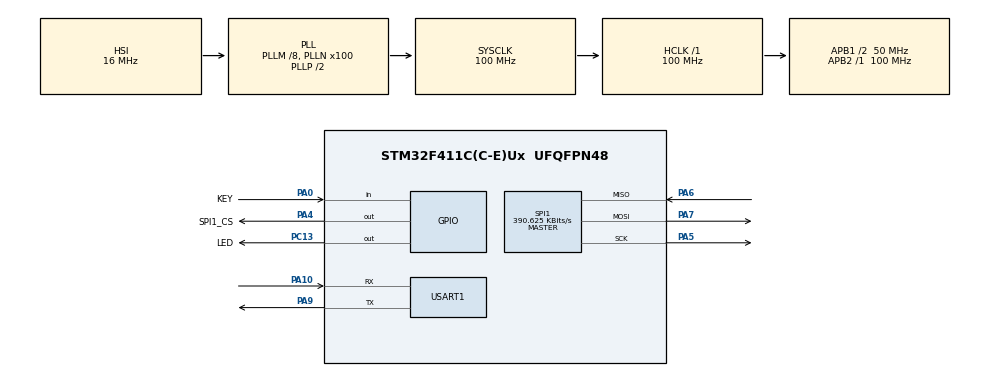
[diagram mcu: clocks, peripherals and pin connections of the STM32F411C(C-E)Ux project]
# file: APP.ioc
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Dma.Request0=USART1_RX
Dma.USART1_RX.0.Direction=DMA_PERIPH_TO_MEMORY
Dma.USART1_RX.0.FIFOMode=DMA_FIFOMODE_DISABLE
Dma.USART1_RX.0.Instance=DMA2_Stream2
Dma.USART1_RX.0.MemDataAlignment=DMA_MDATAALIGN_BYTE
Dma.USART1_RX.0.MemInc=DMA_MINC_ENABLE
Dma.USART1_RX.0.Mode=DMA_NORMAL
Dma.USART1_RX.0.PeriphDataAlignment=DMA_PDATAALIGN_BYTE
Dma.USART1_RX.0.PeriphInc=DMA_PINC_DISABLE
Dma.USART1_RX.0.Priority=DMA_PRIORITY_MEDIUM
FREERTOS.Tasks01=defaultTask,24,128,StartDefaultTask,Default,NULL,Dynamic,NULL,NULL
Mcu.Family=STM32F4
Mcu.Name=STM32F411C(C-E)Ux
Mcu.Package=UFQFPN48
NVIC.DMA2_Stream2_IRQn=true\:5\:0\:false\:false\:true\:true\:false\:true\:true
NVIC.PriorityGroup=NVIC_PRIORITYGROUP_4
NVIC.TIM1_UP_TIM10_IRQn=true\:15\:0\:false\:false\:true\:false\:false\:true\:true
NVIC.TimeBase=TIM1_UP_TIM10_IRQn
NVIC.TimeBaseIP=TIM1
NVIC.USART1_IRQn=true\:5\:0\:false\:false\:true\:true\:true\:true\:true
PA0-WKUP.GPIO_Label=KEY
PA0-WKUP.GPIO_PuPd=GPIO_PULLUP
PA0-WKUP.Signal=GPIO_Input
PA10.Mode=Asynchronous
PA10.Signal=USART1_RX
PA13.Mode=Serial_Wire
PA13.Signal=SYS_JTMS-SWDIO
PA14.Mode=Serial_Wire
PA14.Signal=SYS_JTCK-SWCLK
PA4.GPIO_Label=SPI1_CS
PA4.GPIO_Speed=GPIO_SPEED_FREQ_HIGH
PA4.PinState=GPIO_PIN_SET
PA4.Signal=GPIO_Output
PA5.Mode=Full_Duplex_Master
PA5.Signal=SPI1_SCK
PA6.Mode=Full_Duplex_Master
PA6.Signal=SPI1_MISO
PA7.Mode=Full_Duplex_Master
PA7.Signal=SPI1_MOSI
PA9.Mode=Asynchronous
PA9.Signal=USART1_TX
PC13-ANTI_TAMP.GPIO_Label=LED
PC13-ANTI_TAMP.Signal=GPIO_Output
PC14-OSC32_IN.Mode=LSE-External-Oscillator
PC14-OSC32_IN.Signal=RCC_OSC32_IN
PC15-OSC32_OUT.Mode=LSE-External-Oscillator
PC15-OSC32_OUT.Signal=RCC_OSC32_OUT
PH0\ -\ OSC_IN.Mode=HSE-External-Oscillator
PH0\ -\ OSC_IN.Signal=RCC_OSC_IN
PH1\ -\ OSC_OUT.Mode=HSE-External-Oscillator
PH1\ -\ OSC_OUT.Signal=RCC_OSC_OUT
ProjectManager.HeapSize=0x200
ProjectManager.StackSize=0x400
ProjectManager.TargetToolchain=MDK-ARM V5.32
RCC.48MHZClocksFreq_Value=50000000
RCC.AHBFreq_Value=100000000
RCC.APB1CLKDivider=RCC_HCLK_DIV2
RCC.APB1Freq_Value=50000000
RCC.APB1TimFreq_Value=100000000
RCC.APB2Freq_Value=100000000
RCC.APB2TimFreq_Value=100000000
RCC.CortexFreq_Value=100000000
RCC.HCLKFreq_Value=100000000
RCC.HSE_VALUE=25000000
RCC.HSI_VALUE=16000000
RCC.PLLM=8
RCC.PLLN=100
RCC.SYSCLKFreq_VALUE=100000000
RCC.SYSCLKSource=RCC_SYSCLKSOURCE_PLLCLK
RCC.VCOOutputFreq_Value=200000000
SPI1.BaudRatePrescaler=SPI_BAUDRATEPRESCALER_256
SPI1.CalculateBaudRate=390.625 KBits/s
SPI1.Direction=SPI_DIRECTION_2LINES
SPI1.Mode=SPI_MODE_MASTER
SPI1.VirtualType=VM_MASTER
USART1.VirtualMode=VM_ASYNC
VP_FREERTOS_VS_CMSIS_V2.Mode=CMSIS_V2
VP_SYS_VS_tim1.Mode=TIM1
board=custom

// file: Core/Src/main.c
/* USER CODE BEGIN Header */
/**
  ******************************************************************************
  * @file           : main.c
  * @brief          : Main program body
  ******************************************************************************
  * @attention
  *
  * Copyright (c) 2026 STMicroelectronics.
  * All rights reserved.
  *
  * This software is licensed under terms that can be found in the LICENSE file
  * in the root directory of this software component.
  * If no LICENSE file comes with this software, it is provided AS-IS.
  *
  ******************************************************************************
  */
/* USER CODE END Header */
#include "main.h"
#include "cmsis_os.h"
#include "dma.h"
#include "spi.h"
#include "usart.h"
#include "gpio.h"

/* USER CODE BEGIN Includes */
#include "AT24Cxx_Driver.h"
#include "w25qxx.h"
/* USER CODE END Includes */

void SystemClock_Config(void);
void MX_FREERTOS_Init(void);
/* USER CODE BEGIN PFP */
extern void soft_reset(void);
/* USER CODE END PFP */

/* USER CODE BEGIN 0 */
//uint8_t  g_recv_data[1]; //全局变量，接收数据缓冲区

/* USER CODE END 0 */

int main(void)
{

  /* USER CODE BEGIN 1 */
	// SCB->VTOR = 0x08000000 | 0x8000; //设置向量表偏移地�????�????0x08000000	//0x8019000
	__enable_irq();
  /* USER CODE END 1 */

  /* MCU Configuration--------------------------------------------------------*/

  /* Reset of all peripherals, Initializes the Flash interface and the Systick. */
  HAL_Init();

  /* Configure the system clock */
  SystemClock_Config();

  /* Initialize all configured peripherals */
  MX_GPIO_Init();
  MX_DMA_Init();
  MX_USART1_UART_Init();
  MX_SPI1_Init();
  /* USER CODE BEGIN 2 */
  HAL_Delay(100);
  ee_CheckOk();//检查eeprom是否正常工作
          //验证App自检标识
        uint8_t eeflag = 255;
        ee_ReadBytes(&eeflag,0x00,1);

        if(0x44 == eeflag)
        {
          eeflag = 0x00;
          ee_WriteBytes(&eeflag,0x00,1);
          //等待看门狗主动复位
          while(1);//等待6s看门狗复位
        }
        else if(0x00 != eeflag)
        {
          //主动执行复位
          soft_reset();
        }

  W25Qx_Init();
	// printf("Hello app!\r\n");
/*
  HAL_UART_Receive_IT(&huart1, g_recv_data, 1);*/
  /* USER CODE END 2 */

  /* Init scheduler */
  osKernelInitialize();

  /* Call init function for freertos objects (in cmsis_os2.c) */
  MX_FREERTOS_Init();

  /* Start scheduler */
  osKernelStart();

  /* We should never get here as control is now taken by the scheduler */

  /* Infinite loop */
  while (1)
  {

  }
}

void SystemClock_Config(void)
{
  RCC_OscInitTypeDef RCC_OscInitStruct = {0};
  RCC_ClkInitTypeDef RCC_ClkInitStruct = {0};

  /** Configure the main internal regulator output voltage
  */
  __HAL_RCC_PWR_CLK_ENABLE();
  __HAL_PWR_VOLTAGESCALING_CONFIG(PWR_REGULATOR_VOLTAGE_SCALE1);

  /** Initializes the RCC Oscillators according to the specified parameters
  * in the RCC_OscInitTypeDef structure.
  */
  RCC_OscInitStruct.OscillatorType = RCC_OSCILLATORTYPE_HSI;
  RCC_OscInitStruct.HSIState = RCC_HSI_ON;
  RCC_OscInitStruct.HSICalibrationValue = RCC_HSICALIBRATION_DEFAULT;
  RCC_OscInitStruct.PLL.PLLState = RCC_PLL_ON;
  RCC_OscInitStruct.PLL.PLLSource = RCC_PLLSOURCE_HSI;
  RCC_OscInitStruct.PLL.PLLM = 8;
  RCC_OscInitStruct.PLL.PLLN = 100;
  RCC_OscInitStruct.PLL.PLLP = RCC_PLLP_DIV2;
  RCC_OscInitStruct.PLL.PLLQ = 4;
  if (HAL_RCC_OscConfig(&RCC_OscInitStruct) != HAL_OK)
  {
    Error_Handler();
  }

  /** Initializes the CPU, AHB and APB buses clocks
  */
  RCC_ClkInitStruct.ClockType = RCC_CLOCKTYPE_HCLK|RCC_CLOCKTYPE_SYSCLK
                              |RCC_CLOCKTYPE_PCLK1|RCC_CLOCKTYPE_PCLK2;
  RCC_ClkInitStruct.SYSCLKSource = RCC_SYSCLKSOURCE_PLLCLK;
  RCC_ClkInitStruct.AHBCLKDivider = RCC_SYSCLK_DIV1;
  RCC_ClkInitStruct.APB1CLKDivider = RCC_HCLK_DIV2;
  RCC_ClkInitStruct.APB2CLKDivider = RCC_HCLK_DIV1;

  if (HAL_RCC_ClockConfig(&RCC_ClkInitStruct, FLASH_LATENCY_3) != HAL_OK)
  {
    Error_Handler();
  }
}

void HAL_TIM_PeriodElapsedCallback(TIM_HandleTypeDef *htim)
{
  if (htim->Instance == TIM1) {
    HAL_IncTick();
  }
}

void Error_Handler(void)
{
  __disable_irq();
  while (1)
  {
  }
}

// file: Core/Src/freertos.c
/* USER CODE BEGIN Header */
/**
  ******************************************************************************
  * File Name          : freertos.c
  * Description        : Code for freertos applications
  ******************************************************************************
  * @attention
  *
  * Copyright (c) 2026 STMicroelectronics.
  * All rights reserved.
  *
  * This software is licensed under terms that can be found in the LICENSE file
  * in the root directory of this software component.
  * If no LICENSE file comes with this software, it is provided AS-IS.
  *
  ******************************************************************************
  */
/* USER CODE END Header */

#include "FreeRTOS.h"
#include "task.h"
#include "main.h"
#include "cmsis_os.h"

/* USER CODE BEGIN Includes */

#include "queue.h" 	//队列
#include <string.h>  // memset
#include <stdint.h>//uint8_t uint32_t
#include <stdio.h>//null
#include <SWC_OTA.h>//OTA s multi Taasks

// #include "task.h"   // 任务通知函数  xTaskNotifyFromISR  MAX_DELAY
/* USER CODE END Includes */

/* Definitions for defaultTask */
osThreadId_t defaultTaskHandle;
const osThreadAttr_t defaultTask_attributes = {
  .name = "defaultTask",
  .stack_size = 128 * 4,
  .priority = (osPriority_t) osPriorityNormal,
};

/* USER CODE BEGIN FunctionPrototypes */
extern osThreadId_t OTATaskHandle;///协议接收Task
extern const osThreadAttr_t OTATask_attributes;

QueueHandle_t Q_YmodemReclength;

/* USER CODE END FunctionPrototypes */

void StartDefaultTask(void *argument);

void MX_FREERTOS_Init(void); /* (MISRA C 2004 rule 8.1) */

void MX_FREERTOS_Init(void) {

  /* USER CODE BEGIN RTOS_QUEUES */
  /* add queues, ... */
  Q_YmodemReclength = xQueueCreate(1, sizeof(uint16_t));/// 消息队列

  /* USER CODE END RTOS_QUEUES */

  /* Create the thread(s) */
  /* creation of defaultTask */
  defaultTaskHandle = osThreadNew(StartDefaultTask, NULL, &defaultTask_attributes);

  /* USER CODE BEGIN RTOS_THREADS */
  /* add threads, ... */
  OTATaskHandle = osThreadNew(ota_task_runnable, NULL, &OTATask_attributes);
  /* USER CODE END RTOS_THREADS */

}

/* USER CODE BEGIN Header_StartDefaultTask */
uint8_t recv_buf[10]={0};//接收命令的缓冲区

uint8_t recv_len=0;//中断回调中进行修改
/**
  * @brief  Function implementing the defaultTask thread.
  * @param  argument: Not used
  * @retval None
  */
/* USER CODE END Header_StartDefaultTask */
void StartDefaultTask(void *argument)
{
  /* USER CODE BEGIN StartDefaultTask */
  HAL_UARTEx_ReceiveToIdle_DMA(&huart1, recv_buf, 10);//启动dma 接收
   /* Infinite loop */
  for(;;)
  {
	  HAL_GPIO_TogglePin(LED_GPIO_Port, LED_Pin);
    osDelay(500);
    // for(int i=0;i<recv_len;i++)
    // {
    //   HAL_UART_Transmit(&huart1, &recv_buf[i], 1, 10);
    //   // HAL_UART_Transmit_IT(&huart1, &recv_buf[i], 1);//non block
    // }
    //   recv_len = 0;
    // if(recv_len!=0){

    // }
  }
  /* USER CODE END StartDefaultTask */
}

/* USER CODE BEGIN Application */
/**
  * @brief  接收中断回调函数-dma接收
  * @param  huart: UART handle pointer
  * @param  Size: Number of bytes received
  * @retval None
  */
void HAL_UARTEx_RxEventCallback(UART_HandleTypeDef *huart,uint16_t Size)
{/**HAL_UART_IRQHandler判断无误之后会调用用户回调函数   HAL_UARTEx_RxEventCallback

  HAL_UART_Receive_IT()启动中断
void USART1_IRQHandler(void)  HAL_UART_IRQHandler(&huart1);  会自动调用HAL_UART_IRQHandler() */
    UNUSED(huart);
  UNUSED(Size);
  BaseType_t  xHigherPriorityTaskWoken = pdFALSE;
    if (huart->Instance == USART1)
  {
      //获取剩余当前传输值
			if(1 == __HAL_UART_GET_FLAG(huart,UART_FLAG_IDLE))
			{
				recv_len = Size;  //更新接收长度
        if(pdFALSE != xQueueSendFromISR(Q_YmodemReclength,&recv_len,0))
				{
					xHigherPriorityTaskWoken = pdTRUE;
				}
				HAL_UART_DMAStop(huart);//停止dma 数据接收完成
			}
			portYIELD_FROM_ISR(xHigherPriorityTaskWoken);//更高优先级的任务被唤醒，切换到该任务
      // DMA 传输完成后的操作

      // HAL_UARTEx_ReceiveToIdle_DMA(&huart1, recv_buf, 10);        ///在这里开启
    }

}
/* USER CODE END Application */
